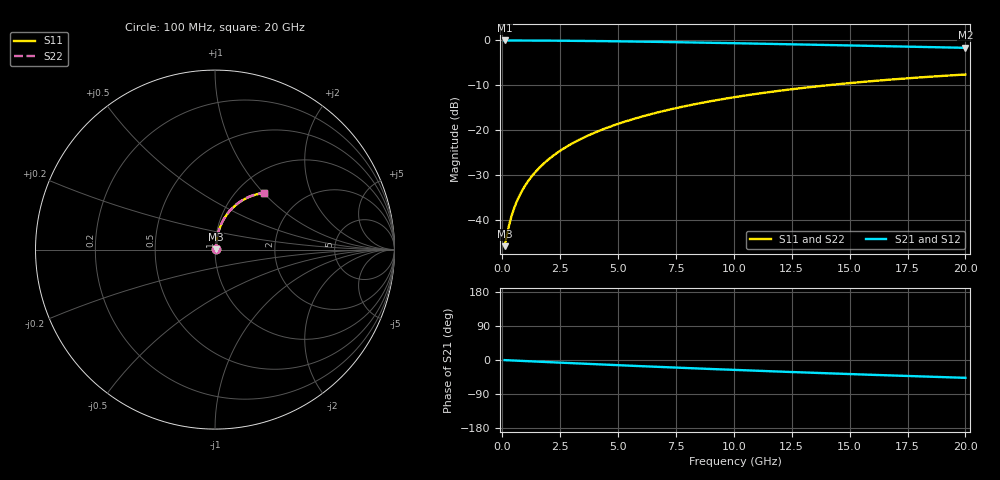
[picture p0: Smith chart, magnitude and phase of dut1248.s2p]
! Touchstone file exported from HFSS 2024.1.0
!  File:  C:/UserFiles/LocalFiles/RDL_TSV_Batchsim/temp_RDL_top_1248_1780241275.aedt
!  Generated:  11:29:59 PM May 31, 2026
!  Design:  RDL_top
!  Project:  temp_RDL_top_1248_1780241275
!  Setup:  Setup1
!  Solution:  Sweep
! Variables:
!  dtsv = 10.80580581um
!  hbump = 3um
!  htsv = 97.57um
!  ldown = 100um
!  lrdl = 690.18um
!  p = 40
!  p1 = 41.81um
!  rhole = 1um
!  t = 450um
!  tdown = 3.915915916um
!  trdl = 3.39um
!  wdown = 15.38538539um
!  wrdl = 16.99um
# GHz S MA R 50.000000
! Terminal data exported
! Port[1] = Box2_T1
! Port[2] = Box2_T2
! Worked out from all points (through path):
!   200 points, 100 MHz to 20 GHz, reference 50 ohm
!   highest |S21| = -0.04 dB at 100 MHz (marker M1); lowest = -1.7 dB at 20 GHz (marker M2)
!   group delay of S21, straight-line fit = 6.51 ps
!   lowest |S11| = -45.9 dB at 100 MHz (marker M3), VSWR 1.01, Z = 50.4 + j0.257 ohm
!   |S11| at or under -10 dB: start of sweep to 14.1 GHz
!   |S22| runs from -45.9 to -7.6 dB; largest |S21 - S12| = 4.3e-15
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0.1  0.005064 30.2  0.9956 -0.3  0.9956 -0.3  0.005064 30.2
! Gamma 0 0 0 0
! Port Impedance 50 0 50 0
0.2  0.006779 48.1  0.9955 -0.6  0.9955 -0.6  0.006779 48.1
0.3  0.008835 57.7  0.9953 -0.9  0.9953 -0.9  0.008835 57.7
0.4  0.01099 63.3  0.995 -1.2  0.995 -1.2  0.01099 63.3
0.5  0.01317 67.1  0.9948 -1.4  0.9948 -1.4  0.01317 67.1
0.6  0.01537 69.7  0.9946 -1.7  0.9946 -1.7  0.01537 69.8
0.8  0.0198 73.4  0.9942 -2.3  0.9942 -2.3  0.0198 73.4
1.1  0.02652 76.5  0.9935 -3.1  0.9935 -3.1  0.02652 76.5
1.3  0.03105 77.7  0.9931 -3.7  0.9931 -3.7  0.03105 77.8
1.6  0.03789 79.0  0.9922 -4.5  0.9922 -4.5  0.0379 79.0
2.1  0.04939 79.9  0.9906 -5.9  0.9906 -5.9  0.0494 80.0
2.7  0.06328 80.2  0.9881 -7.5  0.9881 -7.5  0.06329 80.3
3.5  0.08191 79.9  0.9839 -9.7  0.9839 -9.7  0.08194 79.9
4.2  0.09827 79.2  0.9796 -11.6  0.9796 -11.6  0.09833 79.3
5  0.117 78.1  0.974 -13.7  0.974 -13.7  0.1171 78.2
5.9  0.1381 76.7  0.9669 -16.0  0.9669 -16.0  0.1382 76.8
6.8  0.159 75.2  0.9592 -18.3  0.9592 -18.3  0.1592 75.3
8.4  0.1958 72.2  0.9443 -22.3  0.9443 -22.3  0.1961 72.3
10.1  0.2338 68.8  0.9273 -26.3  0.9273 -26.3  0.2342 68.9
13.4  0.3026 62.1  0.8928 -33.7  0.8928 -33.7  0.3033 62.2
16.7  0.3634 55.5  0.8579 -40.6  0.8579 -40.6  0.3644 55.7
20  0.4155 49.3  0.8241 -47.0  0.8241 -47.0  0.4166 49.4
